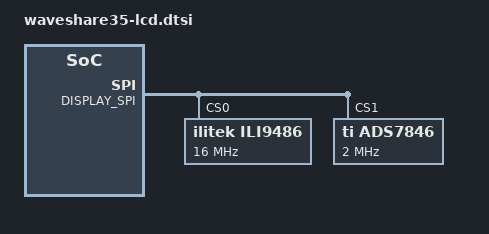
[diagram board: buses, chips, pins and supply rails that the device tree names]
// SPDX-License-Identifier: GPL-2.0-or-later
/*
 * Shared device-tree fragment for the Waveshare 3.5" RPi LCD (A)
 * (ILI9486 SPI display + ADS7846 / XPT2046 resistive touch).
 *
 * Including DTSes set ``DISPLAY_SPI`` to the SPI controller they want
 * to host the panel and then add board-specific overrides in a
 * follow-up block.
 *
 * ----------------------------------------------------------------------
 * PER-BOARD OVERLAY CONTRACT
 *
 *   Properties below are CHIP-LEVEL invariants. Per-board overlays
 *   MUST NOT redeclare them; the lint script at
 *   scripts/test/lint_overlay_invariants.sh fails CI when they do.
 *
 *     - ti,x-plate-ohms          : touch panel resistance, datasheet
 *     - ti,pressure-max          : full-scale pressure reading
 *     - ti,swap-xy               : axis swap; same on every board
 *     - ti,invert-y              : Y-axis polarity for the resistive
 *                                  layer in this panel build; same on
 *                                  every board
 *     - touchscreen-max-pressure : modern binding name for the same
 *                                  full-scale value (kernel >= 5.0)
 *     - compatible / reg         : chip identity and SPI CS slot;
 *                                  every board wires touch at CS1 so
 *                                  this is invariant
 *     - spi-max-frequency        : 2 MHz per ADS7846 datasheet upper
 *                                  bound; per-board may lower it but
 *                                  not raise
 *
 *   Per-board overlays SHOULD override:
 *
 *     - interrupt-parent + interrupts + pendown-gpio (cell content is
 *       SoC-specific: phandle and GPIO bank+pin only make sense for
 *       one platform). PENDOWN POLARITY IS ALWAYS GPIO_ACTIVE_LOW; the
 *       open-drain PENIRQ line idles HIGH via the internal pull-up and
 *       drops LOW on contact. The lint refuses ACTIVE_HIGH; see the
 *       polarity story in data/overlays/README.md.
 *     - pinctrl-names + pinctrl-0 (the IRQ pin needs a per-SoC
 *       pinctrl group that sets GPIO mux + pull-up bias)
 *     - vcc-supply (the regulator phandle name varies by SoC)
 *     - reset-gpios + dc-gpios on &ili9486 (per-board GPIO refs)
 *     - cs-gpios + num-cs + pinctrl-0 on &DISPLAY_SPI (per-SoC SPI
 *       controller pinctrl and CS routing)
 * ----------------------------------------------------------------------
 */

#ifndef __WAVESHARE35_LCD_DTSI__
#define __WAVESHARE35_LCD_DTSI__

#include <dt-bindings/gpio/gpio.h>
#include <dt-bindings/pinctrl/rockchip.h>
#include <dt-bindings/interrupt-controller/irq.h>

/dts-v1/;
/plugin/;

#ifndef DISPLAY_SPI
#error "DISPLAY_SPI is undefined."
#endif

&DISPLAY_SPI {
    status = "okay";
    #address-cells = <1>;
    #size-cells = <0>;

    ili9486: ili9486@0 {
        compatible = "ilitek,ili9486";
        reg = <0>;
        spi-max-frequency = <16000000>;
        txbuflen = <32768>;
        rotate = <90>;
        bgr = <0>;
        fps = <30>;
        buswidth = <8>;
        regwidth = <16>;
        debug = <0>;
    };

    ads7846: ads7846@1 {
        compatible = "ti,ads7846";
        status = "okay";
        reg = <1>;
        spi-max-frequency = <2000000>;
        ti,x-plate-ohms = /bits/ 16 <60>;
        ti,pressure-max = /bits/ 16 <255>;
        ti,swap-xy = <0>;
        ti,invert-y = <1>;
        touchscreen-max-pressure = <255>;
    };
};

#endif // __WAVESHARE35_LCD_DTSI__
